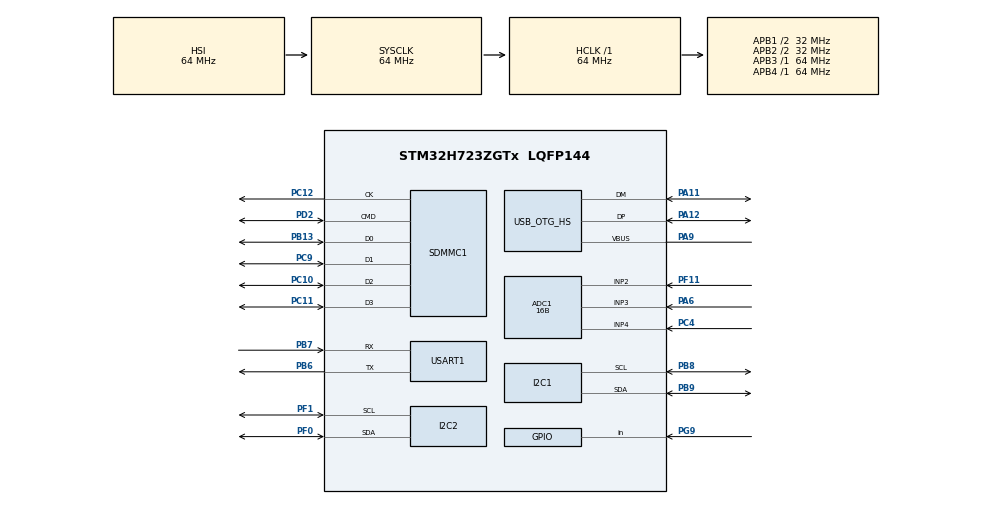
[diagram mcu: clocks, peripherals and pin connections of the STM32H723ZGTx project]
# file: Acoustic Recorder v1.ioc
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ADC1.Channel-2\#ChannelRegularConversion=ADC_CHANNEL_2
ADC1.ClockPrescaler=ADC_CLOCK_SYNC_PCLK_DIV4
ADC1.ContinuousConvMode=ENABLE
ADC1.ConversionDataManagement=ADC_CONVERSIONDATA_DMA_CIRCULAR
ADC1.DiscontinuousConvMode=DISABLE
ADC1.EOCSelection=ADC_EOC_SEQ_CONV
ADC1.ExternalTrigConv=ADC_SOFTWARE_START
ADC1.NbrOfConversion=1
ADC1.NbrOfConversionFlag=1
ADC1.OffsetNumber-2\#ChannelRegularConversion=ADC_OFFSET_NONE
ADC1.OffsetSignedSaturation-2\#ChannelRegularConversion=DISABLE
ADC1.Overrun=ADC_OVR_DATA_PRESERVED
ADC1.Rank-2\#ChannelRegularConversion=1
ADC1.Resolution=ADC_RESOLUTION_16B
ADC1.SamplingTime-2\#ChannelRegularConversion=ADC_SAMPLETIME_32CYCLES_5
ADC1.master=1
Dma.ADC1.0.Direction=DMA_PERIPH_TO_MEMORY
Dma.ADC1.0.EventEnable=DISABLE
Dma.ADC1.0.FIFOMode=DMA_FIFOMODE_DISABLE
Dma.ADC1.0.Instance=DMA1_Stream0
Dma.ADC1.0.MemDataAlignment=DMA_MDATAALIGN_HALFWORD
Dma.ADC1.0.MemInc=DMA_MINC_ENABLE
Dma.ADC1.0.Mode=DMA_CIRCULAR
Dma.ADC1.0.PeriphDataAlignment=DMA_PDATAALIGN_HALFWORD
Dma.ADC1.0.PeriphInc=DMA_PINC_DISABLE
Dma.ADC1.0.Polarity=HAL_DMAMUX_REQ_GEN_RISING
Dma.ADC1.0.Priority=DMA_PRIORITY_LOW
Dma.ADC1.0.RequestNumber=1
Dma.ADC1.0.SignalID=NONE
Dma.ADC1.0.SyncEnable=DISABLE
Dma.ADC1.0.SyncPolarity=HAL_DMAMUX_SYNC_NO_EVENT
Dma.ADC1.0.SyncRequestNumber=1
Dma.ADC1.0.SyncSignalID=NONE
Dma.Request0=ADC1
FATFS.BSP.number=1
FATFS.USE_DMA_CODE_SD=1
FATFS._USE_LFN=3
FATFS0.BSP.STBoard=false
FATFS0.BSP.api=Unknown
FATFS0.BSP.instance=PG9
FATFS0.BSP.ip=GPIO
FATFS0.BSP.mode=Input
FATFS0.BSP.name=Detect_SDIO
FATFS0.BSP.solution=PG9
I2C1.Timing=0x00707CBB
I2C2.Timing=0x00707CBB
Mcu.Family=STM32H7
Mcu.Name=STM32H723ZGTx
Mcu.Package=LQFP144
NVIC.ADC_IRQn=true\:0\:0\:false\:false\:true\:true\:true\:true
NVIC.DMA1_Stream0_IRQn=true\:0\:0\:false\:false\:true\:false\:true\:true
NVIC.PriorityGroup=NVIC_PRIORITYGROUP_4
NVIC.SDMMC1_IRQn=true\:0\:0\:false\:false\:true\:true\:true\:true
PA11.Mode=Device_Only_FS
PA11.Signal=USB_OTG_HS_DM
PA12.Mode=Device_Only_FS
PA12.Signal=USB_OTG_HS_DP
PA13(JTMS/SWDIO).Mode=Trace_Asynchronous_SW
PA13(JTMS/SWDIO).Signal=DEBUG_JTMS-SWDIO
PA14(JTCK/SWCLK).Mode=Trace_Asynchronous_SW
PA14(JTCK/SWCLK).Signal=DEBUG_JTCK-SWCLK
PA6.Signal=ADCx_INP3
PA9.Mode=Activate_VBUS_FS
PA9.Signal=USB_OTG_HS_VBUS
PB13.Mode=SD_4_bits_Wide_bus
PB13.Signal=SDMMC1_D0
PB3(JTDO/TRACESWO).Mode=Trace_Asynchronous_SW
PB3(JTDO/TRACESWO).Signal=DEBUG_JTDO-SWO
PB6.Mode=Asynchronous
PB6.Signal=USART1_TX
PB7.Mode=Asynchronous
PB7.Signal=USART1_RX
PB8.Mode=I2C
PB8.Signal=I2C1_SCL
PB9.Mode=I2C
PB9.Signal=I2C1_SDA
PC10.Mode=SD_4_bits_Wide_bus
PC10.Signal=SDMMC1_D2
PC11.Mode=SD_4_bits_Wide_bus
PC11.Signal=SDMMC1_D3
PC12.Mode=SD_4_bits_Wide_bus
PC12.Signal=SDMMC1_CK
PC4.Signal=ADCx_INP4
PC9.Mode=SD_4_bits_Wide_bus
PC9.Signal=SDMMC1_D1
PD2.Mode=SD_4_bits_Wide_bus
PD2.Signal=SDMMC1_CMD
PF0.Mode=I2C
PF0.Signal=I2C2_SDA
PF1.Mode=I2C
PF1.Signal=I2C2_SCL
PF11.Mode=IN2-Single-Ended
PF11.Signal=ADC1_INP2
PG9.Signal=GPIO_Input
ProjectManager.HeapSize=0x2000
ProjectManager.StackSize=0x4000
ProjectManager.TargetToolchain=STM32CubeIDE
RCC.ADCFreq_Value=96000000
RCC.APB1Freq_Value=32000000
RCC.APB2Freq_Value=32000000
RCC.APB3Freq_Value=64000000
RCC.APB4Freq_Value=64000000
RCC.CortexFreq_Value=64000000
RCC.D2PPRE1=RCC_APB1_DIV2
RCC.D2PPRE2=RCC_APB2_DIV2
RCC.DIVM1=4
RCC.DIVM2=1
RCC.DIVN1=12
RCC.DIVN2=24
RCC.DIVP1=1
RCC.DIVP2=16
RCC.HCLKFreq_Value=64000000
RCC.HSE_VALUE=16000000
RCC.PLL2FRACN=0
RCC.PLL3FRACN=0
RCC.PLLFRACN=4096
RCC.SYSCLKFreq_VALUE=64000000
RCC.USBCLockSelection=RCC_USBCLKSOURCE_HSI48
RCC.USBFreq_Value=48000000
SDMMC1.ClockDiv=1
SDMMC1.TransceiverPresent=SDMMC_TRANSCEIVER_NOT_PRESENT
SH.ADCx_INP3.0=ADC1_INP3,IN3-Single-Ended
SH.ADCx_INP4.0=ADC1_INP4,IN4-Single-Ended
USART1.VirtualMode-Asynchronous=VM_ASYNC
USART1.WordLength=WORDLENGTH_7B
USB_OTG_HS.VirtualMode-Device_Only_FS=Device_Only_FS
VP_FATFS_VS_SDIO.Mode=SDIO
VP_RCC_USB.Mode=USB_HS
VP_RTC_VS_RTC_Activate.Mode=RTC_Enabled
VP_RTC_VS_RTC_Calendar.Mode=RTC_Calendar
VP_RTC_VS_RTC_WakeUp_intern.Mode=WakeUp
board=custom

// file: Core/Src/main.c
/* USER CODE BEGIN Header */
/**
  ******************************************************************************
  * @file           : main.c
  * @brief          : Main program body
  ******************************************************************************
  * @attention
  *
  * Copyright (c) 2024 STMicroelectronics.
  * All rights reserved.
  *
  * This software is licensed under terms that can be found in the LICENSE file
  * in the root directory of this software component.
  * If no LICENSE file comes with this software, it is provided AS-IS.
  *
  ******************************************************************************
  */
/* USER CODE END Header */
#include "main.h"
#include "fatfs.h"

/* USER CODE BEGIN Includes */
#include <stdio.h>
#include <string.h>
#include <stdlib.h>
#include <stdint.h>
#include <math.h>
#include <limits.h>
#include <time.h>
#include <arm_math.h>

/* USER CODE END Includes */

/* USER CODE BEGIN PTD */
//struct for .WAV header
typedef struct {
    char    ChunkID[4];
    int32_t ChunkSize;
    char    Format[4];

    char    Subchunk1ID[4];
    int32_t Subchunk1Size;
    int16_t AudioFormat;
    int16_t NumChannels;
    int32_t SampleRate;
    int32_t ByteRate;
    int16_t BlockAlign;
    int16_t BitsPerSample;

    char    Subchunk2ID[4];
    int32_t Subchunk2Size;
} header;

//state machine states
typedef enum {
    PRE_ANALYSIS_RECORDING,
    MAIN_RECORDING,
    IDLE
} application_state_t;
/* USER CODE END PTD */

/* USER CODE BEGIN PD */

//.WAV file defines, currently 16-bit/192kHz
#define Sub_chunk1Size 16
#define Audio_Format 1
#define Num_Channels 1
#define Sample_Rate 192000 //32.5cycles
#define Bitsper_Sample 16
#define duration 5
#define CHUNK_SIZE_SECONDS 0.20 //must be able to divide duration
#define CHUNK_SIZE_SAMPLES (CHUNK_SIZE_SECONDS * Sample_Rate)

//used for sine wave generation to test .WAV setup.
#define amplitude 0.5
#define frequency 415.30

#define PRE_ANALYSIS_BUF_LEN 8192 //4096  //closest power of 2 to 0.1 seconds of data at 192kHz
#define FFT_SIZE PRE_ANALYSIS_BUF_LEN

//adjust below parameters to alter pre analysis parameters
#define FREQUENCY_THRESHOLD 18000 //should add 4,449.4 to wanted value to account for error.
#define AMPLITUDE_THRESHOLD 0 //ambient room noise ranges from 0-10.
//26449.40 - 22000 = 4,449.4 error

#define ADC_BUF_LEN 32768
#define ADC_BUF_LEN_HALF ADC_BUF_LEN/2

/* USER CODE END PD */

ADC_HandleTypeDef hadc1;
DMA_HandleTypeDef hdma_adc1;

I2C_HandleTypeDef hi2c1;
I2C_HandleTypeDef hi2c2;

RTC_HandleTypeDef hrtc;

SD_HandleTypeDef hsd1;

UART_HandleTypeDef huart1;

PCD_HandleTypeDef hpcd_USB_OTG_HS;

/* USER CODE BEGIN PV */
header header_actual; //declare .WAV header globally

uint16_t adc_buf[ADC_BUF_LEN];
uint16_t adc_half_buf[ADC_BUF_LEN_HALF];
uint16_t adc_full_buf[ADC_BUF_LEN_HALF];

volatile uint8_t dma_half_transfer_complete = 0;
volatile uint8_t dma_transfer_complete = 0;

uint16_t pre_analysis_buf[PRE_ANALYSIS_BUF_LEN];
volatile uint8_t pre_analysis_complete = 0; //flag to indicate completion of pre-analysis recording
volatile application_state_t app_state = PRE_ANALYSIS_RECORDING;
q15_t  fft_input[FFT_SIZE]; //buffer for FFT input
q15_t  fft_output[2 * FFT_SIZE]; //should be (x*2)+1

uint32_t totalDataBytesWritten = 0;
UINT bw; //bytes written

RTC_TimeTypeDef gTime;
RTC_DateTypeDef gDate;

FIL AudioFile;
FIL TextFile;
/* USER CODE END PV */

void SystemClock_Config(void);
static void MX_GPIO_Init(void);
static void MX_DMA_Init(void);
static void MX_ADC1_Init(void);
static void MX_SDMMC1_SD_Init(void);
static void MX_I2C1_Init(void);
static void MX_I2C2_Init(void);
static void MX_RTC_Init(void);
static void MX_USART1_UART_Init(void);
static void MX_USB_OTG_HS_PCD_Init(void);
/* USER CODE BEGIN PFP */
void sd_setup(void);
void sd_write(short *data, int num_samples);
void initializeHeader(header *header_actual);
void generateSineWave(short *data, int num_samples);
void writeToFile(const char *filename, header header_actual, short *data);
void finalizeRecording();
void Get_RTC_Time(void);
void SetRTCToCompileTime(RTC_HandleTypeDef *hrtc);
void sd_audio_file();
void sd_data_file();
int detectSignificantFrequency(float32_t *fftMagnitude, uint32_t fftSize, float sampleRate);
void performFFT();
q15_t unsigned_to_q15(uint16_t val);
/* USER CODE END PFP */

/* USER CODE BEGIN 0 */
FRESULT res;
uint32_t byteswritten, bytesread;
uint8_t wtext[] = "This is a test for my 3rd Year Project!"; /* File write buffer */
uint8_t rtext[_MAX_SS];/* File read buffer */

arm_rfft_instance_q15 S;

/* USER CODE END 0 */

int main(void)
{

  /* MCU Configuration--------------------------------------------------------*/

  /* Reset of all peripherals, Initializes the Flash interface and the Systick. */
  HAL_Init();

  /* Configure the system clock */
  SystemClock_Config();

  /* Initialize all configured peripherals */
  MX_GPIO_Init();
  MX_DMA_Init();
  MX_ADC1_Init();
  MX_SDMMC1_SD_Init();
  MX_I2C1_Init();
  MX_I2C2_Init();
  MX_RTC_Init();
  MX_USART1_UART_Init();
  MX_USB_OTG_HS_PCD_Init();
  MX_FATFS_Init();
  /* USER CODE BEGIN 2 */
  //sets rtc to complie time, easier than changing code each build
  SetRTCToCompileTime(&hrtc);
  //used for debugging check time is correct.
  Get_RTC_Time();
  sd_setup();
  sd_audio_file();
  sd_data_file();

  HAL_ADC_Start_DMA(&hadc1, (uint32_t*)pre_analysis_buf, PRE_ANALYSIS_BUF_LEN);

  /* USER CODE END 2 */

  /* Infinite loop */
  while (1)
  {

    /* USER CODE BEGIN 3 */
	  if (app_state == PRE_ANALYSIS_RECORDING) {
	        if (pre_analysis_complete) {

	        	//calculating DC offset from audio
	        	float dc_offset = 0;
	        	for (int i = 0; i < PRE_ANALYSIS_BUF_LEN; i++) {
	        	    dc_offset += pre_analysis_buf[i];
	        	}
	        	dc_offset /= PRE_ANALYSIS_BUF_LEN;

	            //converts the ADC values to q15 and store them in fft_input for use in q15 fft.
	            for (int i = 0; i < PRE_ANALYSIS_BUF_LEN; i++) {
	                fft_input[i] = unsigned_to_q15(pre_analysis_buf[i]- dc_offset); //removing  DC offset from audio
	            }

	            //perform FFT on the pre-analysis data
	            performFFT();

	            //analyze the FFT output to detect significant frequencies as defined in #DEFINE
	            if (detectSignificantFrequency(fft_output, FFT_SIZE, Sample_Rate)) {
	                app_state = MAIN_RECORDING; //starts the main recording if significant frequency detected
		            pre_analysis_complete = 0;

	            } else {
	                //app_state = IDLE; //IDLE state here if needed, current code should loop
	                app_state = PRE_ANALYSIS_RECORDING;

	            }

	        }
	    } else if (app_state == MAIN_RECORDING) {

	    	//stop pre analysis ADC DMA setup and restarts for main recording. Output buffer is different
	    	HAL_ADC_Stop_DMA(&hadc1);
	    	HAL_ADC_Start_DMA(&hadc1, (uint32_t*)adc_buf, ADC_BUF_LEN);

	    		header header_actual;
	    		initializeHeader(&header_actual);
	        	      //calculating DC offset from audio - i should turn this into a function
	    			  float remaining_duration = duration;
	    		      float dc_offset = 0;

	    		      for (int i = 0; i < ADC_BUF_LEN; i++) {
	    		                 dc_offset += adc_buf[i];
	    		             }
	    		             dc_offset /= ADC_BUF_LEN;
	    		      //main recording loop, writes data to SD card in segments and checks whether duration has elapsed.
	    			  while (remaining_duration > 0) {
	    				  //allocate memory for the chunk
	    				  int chunk_samples = remaining_duration >= CHUNK_SIZE_SECONDS ? CHUNK_SIZE_SAMPLES : (int)(remaining_duration * Sample_Rate);
	    				  short *data = malloc(chunk_samples * Num_Channels * sizeof(short)); //malloc use I dont think does anything here

	    				  while (!dma_half_transfer_complete) {

	    				     }

	    				  dma_half_transfer_complete = 0;

	    		            for (int i = 0; i < ADC_BUF_LEN_HALF; i++) {
	    		                adc_half_buf[i] = (short)((adc_buf[i] - dc_offset) * 40);//removing  DC offset from audio
	    		            }
	    				  //write first DMA segment chunk to SD card
	    				  sd_write((short*)adc_half_buf, ADC_BUF_LEN_HALF);

	    				  while (!dma_transfer_complete) {

	    				     }

	    				  dma_transfer_complete = 0;
	    		            for (int i = 0; i < ADC_BUF_LEN_HALF; i++) {
	    		                adc_full_buf[i] = (short)((adc_buf[i + ADC_BUF_LEN_HALF] - dc_offset) * 40);  // Example scaling and offset adjust
	    		            }

		    			  //write second DMA segment chunk to SD card
	    				  sd_write((short*)adc_full_buf, ADC_BUF_LEN_HALF);

	    				  //update remaining duration
	    				  remaining_duration -= CHUNK_SIZE_SECONDS;

	    				  //free memory allocated for the chunk
	    				  free(data);
	    			          }
	    			  //closes files onn SD cards.
	    			  finalizeRecording();

	    			  printf("Write operation complete\r\n");

	    			  app_state = PRE_ANALYSIS_RECORDING;
			          pre_analysis_complete = 0; // Reset flag
				      HAL_ADC_Stop_DMA(&hadc1);
			          HAL_ADC_Start_DMA(&hadc1, (uint32_t*)pre_analysis_buf, PRE_ANALYSIS_BUF_LEN);

	    } else if (app_state == IDLE) {
	    }

  }
  /* USER CODE END 3 */
}

void SystemClock_Config(void)
{
  RCC_OscInitTypeDef RCC_OscInitStruct = {0};
  RCC_ClkInitTypeDef RCC_ClkInitStruct = {0};
  RCC_CRSInitTypeDef RCC_CRSInitStruct = {0};

  /** Supply configuration update enable
  */
  HAL_PWREx_ConfigSupply(PWR_LDO_SUPPLY);

  /** Configure the main internal regulator output voltage
  */
  __HAL_PWR_VOLTAGESCALING_CONFIG(PWR_REGULATOR_VOLTAGE_SCALE3);

  while(!__HAL_PWR_GET_FLAG(PWR_FLAG_VOSRDY)) {}

  /** Initializes the RCC Oscillators according to the specified parameters
  * in the RCC_OscInitTypeDef structure.
  */
  RCC_OscInitStruct.OscillatorType = RCC_OSCILLATORTYPE_HSI48|RCC_OSCILLATORTYPE_HSI
                              |RCC_OSCILLATORTYPE_LSI;
  RCC_OscInitStruct.HSIState = RCC_HSI_DIV1;
  RCC_OscInitStruct.HSICalibrationValue = 64;
  RCC_OscInitStruct.LSIState = RCC_LSI_ON;
  RCC_OscInitStruct.HSI48State = RCC_HSI48_ON;
  RCC_OscInitStruct.PLL.PLLState = RCC_PLL_ON;
  RCC_OscInitStruct.PLL.PLLSource = RCC_PLLSOURCE_HSI;
  RCC_OscInitStruct.PLL.PLLM = 4;
  RCC_OscInitStruct.PLL.PLLN = 12;
  RCC_OscInitStruct.PLL.PLLP = 1;
  RCC_OscInitStruct.PLL.PLLQ = 2;
  RCC_OscInitStruct.PLL.PLLR = 2;
  RCC_OscInitStruct.PLL.PLLRGE = RCC_PLL1VCIRANGE_3;
  RCC_OscInitStruct.PLL.PLLVCOSEL = RCC_PLL1VCOWIDE;
  RCC_OscInitStruct.PLL.PLLFRACN = 4096;
  if (HAL_RCC_OscConfig(&RCC_OscInitStruct) != HAL_OK)
  {
    Error_Handler();
  }

  /** Initializes the CPU, AHB and APB buses clocks
  */
  RCC_ClkInitStruct.ClockType = RCC_CLOCKTYPE_HCLK|RCC_CLOCKTYPE_SYSCLK
                              |RCC_CLOCKTYPE_PCLK1|RCC_CLOCKTYPE_PCLK2
                              |RCC_CLOCKTYPE_D3PCLK1|RCC_CLOCKTYPE_D1PCLK1;
  RCC_ClkInitStruct.SYSCLKSource = RCC_SYSCLKSOURCE_HSI;
  RCC_ClkInitStruct.SYSCLKDivider = RCC_SYSCLK_DIV1;
  RCC_ClkInitStruct.AHBCLKDivider = RCC_HCLK_DIV1;
  RCC_ClkInitStruct.APB3CLKDivider = RCC_APB3_DIV1;
  RCC_ClkInitStruct.APB1CLKDivider = RCC_APB1_DIV2;
  RCC_ClkInitStruct.APB2CLKDivider = RCC_APB2_DIV2;
  RCC_ClkInitStruct.APB4CLKDivider = RCC_APB4_DIV1;

  if (HAL_RCC_ClockConfig(&RCC_ClkInitStruct, FLASH_LATENCY_1) != HAL_OK)
  {
    Error_Handler();
  }

  /** Enable the SYSCFG APB clock
  */
  __HAL_RCC_CRS_CLK_ENABLE();

  /** Configures CRS
  */
  RCC_CRSInitStruct.Prescaler = RCC_CRS_SYNC_DIV1;
  RCC_CRSInitStruct.Source = RCC_CRS_SYNC_SOURCE_USB2;
  RCC_CRSInitStruct.Polarity = RCC_CRS_SYNC_POLARITY_RISING;
  RCC_CRSInitStruct.ReloadValue = __HAL_RCC_CRS_RELOADVALUE_CALCULATE(48000000,1000);
  RCC_CRSInitStruct.ErrorLimitValue = 34;
  RCC_CRSInitStruct.HSI48CalibrationValue = 32;

  HAL_RCCEx_CRSConfig(&RCC_CRSInitStruct);
}

static void MX_ADC1_Init(void)
{

  ADC_MultiModeTypeDef multimode = {0};
  ADC_ChannelConfTypeDef sConfig = {0};

  /** Common config
  */
  hadc1.Instance = ADC1;
  hadc1.Init.ClockPrescaler = ADC_CLOCK_SYNC_PCLK_DIV4;
  hadc1.Init.Resolution = ADC_RESOLUTION_16B;
  hadc1.Init.ScanConvMode = ADC_SCAN_DISABLE;
  hadc1.Init.EOCSelection = ADC_EOC_SEQ_CONV;
  hadc1.Init.LowPowerAutoWait = DISABLE;
  hadc1.Init.ContinuousConvMode = ENABLE;
  hadc1.Init.NbrOfConversion = 1;
  hadc1.Init.DiscontinuousConvMode = DISABLE;
  hadc1.Init.ExternalTrigConv = ADC_SOFTWARE_START;
  hadc1.Init.ExternalTrigConvEdge = ADC_EXTERNALTRIGCONVEDGE_NONE;
  hadc1.Init.ConversionDataManagement = ADC_CONVERSIONDATA_DMA_CIRCULAR;
  hadc1.Init.Overrun = ADC_OVR_DATA_PRESERVED;
  hadc1.Init.LeftBitShift = ADC_LEFTBITSHIFT_NONE;
  hadc1.Init.OversamplingMode = DISABLE;
  if (HAL_ADC_Init(&hadc1) != HAL_OK)
  {
    Error_Handler();
  }

  /** Configure the ADC multi-mode
  */
  multimode.Mode = ADC_MODE_INDEPENDENT;
  if (HAL_ADCEx_MultiModeConfigChannel(&hadc1, &multimode) != HAL_OK)
  {
    Error_Handler();
  }

  /** Configure Regular Channel
  */
  sConfig.Channel = ADC_CHANNEL_2;
  sConfig.Rank = ADC_REGULAR_RANK_1;
  sConfig.SamplingTime = ADC_SAMPLETIME_32CYCLES_5;
  sConfig.SingleDiff = ADC_SINGLE_ENDED;
  sConfig.OffsetNumber = ADC_OFFSET_NONE;
  sConfig.Offset = 0;
  sConfig.OffsetSignedSaturation = DISABLE;
  if (HAL_ADC_ConfigChannel(&hadc1, &sConfig) != HAL_OK)
  {
    Error_Handler();
  }

}

static void MX_I2C1_Init(void)
{

  hi2c1.Instance = I2C1;
  hi2c1.Init.Timing = 0x00707CBB;
  hi2c1.Init.OwnAddress1 = 0;
  hi2c1.Init.AddressingMode = I2C_ADDRESSINGMODE_7BIT;
  hi2c1.Init.DualAddressMode = I2C_DUALADDRESS_DISABLE;
  hi2c1.Init.OwnAddress2 = 0;
  hi2c1.Init.OwnAddress2Masks = I2C_OA2_NOMASK;
  hi2c1.Init.GeneralCallMode = I2C_GENERALCALL_DISABLE;
  hi2c1.Init.NoStretchMode = I2C_NOSTRETCH_DISABLE;
  if (HAL_I2C_Init(&hi2c1) != HAL_OK)
  {
    Error_Handler();
  }

  /** Configure Analogue filter
  */
  if (HAL_I2CEx_ConfigAnalogFilter(&hi2c1, I2C_ANALOGFILTER_ENABLE) != HAL_OK)
  {
    Error_Handler();
  }

  /** Configure Digital filter
  */
  if (HAL_I2CEx_ConfigDigitalFilter(&hi2c1, 0) != HAL_OK)
  {
    Error_Handler();
  }

}

static void MX_I2C2_Init(void)
{

  hi2c2.Instance = I2C2;
  hi2c2.Init.Timing = 0x00707CBB;
  hi2c2.Init.OwnAddress1 = 0;
  hi2c2.Init.AddressingMode = I2C_ADDRESSINGMODE_7BIT;
  hi2c2.Init.DualAddressMode = I2C_DUALADDRESS_DISABLE;
  hi2c2.Init.OwnAddress2 = 0;
  hi2c2.Init.OwnAddress2Masks = I2C_OA2_NOMASK;
  hi2c2.Init.GeneralCallMode = I2C_GENERALCALL_DISABLE;
  hi2c2.Init.NoStretchMode = I2C_NOSTRETCH_DISABLE;
  if (HAL_I2C_Init(&hi2c2) != HAL_OK)
  {
    Error_Handler();
  }

  /** Configure Analogue filter
  */
  if (HAL_I2CEx_ConfigAnalogFilter(&hi2c2, I2C_ANALOGFILTER_ENABLE) != HAL_OK)
  {
    Error_Handler();
  }

  /** Configure Digital filter
  */
  if (HAL_I2CEx_ConfigDigitalFilter(&hi2c2, 0) != HAL_OK)
  {
    Error_Handler();
  }

}

static void MX_RTC_Init(void)
{

  RTC_TimeTypeDef sTime = {0};
  RTC_DateTypeDef sDate = {0};

  /** Initialize RTC Only
  */
  hrtc.Instance = RTC;
  hrtc.Init.HourFormat = RTC_HOURFORMAT_24;
  hrtc.Init.AsynchPrediv = 127;
  hrtc.Init.SynchPrediv = 255;
  hrtc.Init.OutPut = RTC_OUTPUT_DISABLE;
  hrtc.Init.OutPutPolarity = RTC_OUTPUT_POLARITY_HIGH;
  hrtc.Init.OutPutType = RTC_OUTPUT_TYPE_OPENDRAIN;
  hrtc.Init.OutPutRemap = RTC_OUTPUT_REMAP_NONE;
  if (HAL_RTC_Init(&hrtc) != HAL_OK)
  {
    Error_Handler();
  }

  /** Initialize RTC and set the Time and Date
  */
  sTime.Hours = 0x0;
  sTime.Minutes = 0x0;
  sTime.Seconds = 0x0;
  sTime.DayLightSaving = RTC_DAYLIGHTSAVING_NONE;
  sTime.StoreOperation = RTC_STOREOPERATION_RESET;
  if (HAL_RTC_SetTime(&hrtc, &sTime, RTC_FORMAT_BCD) != HAL_OK)
  {
    Error_Handler();
  }
  sDate.WeekDay = RTC_WEEKDAY_MONDAY;
  sDate.Month = RTC_MONTH_JANUARY;
  sDate.Date = 0x1;
  sDate.Year = 0x0;

  if (HAL_RTC_SetDate(&hrtc, &sDate, RTC_FORMAT_BCD) != HAL_OK)
  {
    Error_Handler();
  }

  /** Enable the WakeUp
  */
  if (HAL_RTCEx_SetWakeUpTimer(&hrtc, 0, RTC_WAKEUPCLOCK_RTCCLK_DIV16) != HAL_OK)
  {
    Error_Handler();
  }

}

static void MX_SDMMC1_SD_Init(void)
{

  hsd1.Instance = SDMMC1;
  hsd1.Init.ClockEdge = SDMMC_CLOCK_EDGE_RISING;
  hsd1.Init.ClockPowerSave = SDMMC_CLOCK_POWER_SAVE_DISABLE;
  hsd1.Init.BusWide = SDMMC_BUS_WIDE_4B;
  hsd1.Init.HardwareFlowControl = SDMMC_HARDWARE_FLOW_CONTROL_DISABLE;
  hsd1.Init.ClockDiv = 1;

}

static void MX_USART1_UART_Init(void)
{

  huart1.Instance = USART1;
  huart1.Init.BaudRate = 115200;
  huart1.Init.WordLength = UART_WORDLENGTH_7B;
  huart1.Init.StopBits = UART_STOPBITS_1;
  huart1.Init.Parity = UART_PARITY_NONE;
  huart1.Init.Mode = UART_MODE_TX_RX;
  huart1.Init.HwFlowCtl = UART_HWCONTROL_NONE;
  huart1.Init.OverSampling = UART_OVERSAMPLING_16;
  huart1.Init.OneBitSampling = UART_ONE_BIT_SAMPLE_DISABLE;
  huart1.Init.ClockPrescaler = UART_PRESCALER_DIV1;
  huart1.AdvancedInit.AdvFeatureInit = UART_ADVFEATURE_NO_INIT;
  if (HAL_UART_Init(&huart1) != HAL_OK)
  {
    Error_Handler();
  }
  if (HAL_UARTEx_SetTxFifoThreshold(&huart1, UART_TXFIFO_THRESHOLD_1_8) != HAL_OK)
  {
    Error_Handler();
  }
  if (HAL_UARTEx_SetRxFifoThreshold(&huart1, UART_RXFIFO_THRESHOLD_1_8) != HAL_OK)
  {
    Error_Handler();
  }
  if (HAL_UARTEx_DisableFifoMode(&huart1) != HAL_OK)
  {
    Error_Handler();
  }

}

static void MX_USB_OTG_HS_PCD_Init(void)
{

  hpcd_USB_OTG_HS.Instance = USB_OTG_HS;
  hpcd_USB_OTG_HS.Init.dev_endpoints = 9;
  hpcd_USB_OTG_HS.Init.speed = PCD_SPEED_FULL;
  hpcd_USB_OTG_HS.Init.dma_enable = DISABLE;
  hpcd_USB_OTG_HS.Init.phy_itface = USB_OTG_EMBEDDED_PHY;
  hpcd_USB_OTG_HS.Init.Sof_enable = DISABLE;
  hpcd_USB_OTG_HS.Init.low_power_enable = DISABLE;
  hpcd_USB_OTG_HS.Init.lpm_enable = DISABLE;
  hpcd_USB_OTG_HS.Init.vbus_sensing_enable = ENABLE;
  hpcd_USB_OTG_HS.Init.use_dedicated_ep1 = DISABLE;
  hpcd_USB_OTG_HS.Init.use_external_vbus = DISABLE;
  if (HAL_PCD_Init(&hpcd_USB_OTG_HS) != HAL_OK)
  {
    Error_Handler();
  }

}

static void MX_DMA_Init(void)
{

  /* DMA controller clock enable */
  __HAL_RCC_DMA1_CLK_ENABLE();

  /* DMA interrupt init */
  /* DMA1_Stream0_IRQn interrupt configuration */
  HAL_NVIC_SetPriority(DMA1_Stream0_IRQn, 0, 0);
  HAL_NVIC_EnableIRQ(DMA1_Stream0_IRQn);

}

static void MX_GPIO_Init(void)
{
  GPIO_InitTypeDef GPIO_InitStruct = {0};

  /* GPIO Ports Clock Enable */
  __HAL_RCC_GPIOF_CLK_ENABLE();
  __HAL_RCC_GPIOA_CLK_ENABLE();
  __HAL_RCC_GPIOC_CLK_ENABLE();
  __HAL_RCC_GPIOB_CLK_ENABLE();
  __HAL_RCC_GPIOD_CLK_ENABLE();
  __HAL_RCC_GPIOG_CLK_ENABLE();

  /*Configure GPIO pin : PG9 */
  GPIO_InitStruct.Pin = GPIO_PIN_9;
  GPIO_InitStruct.Mode = GPIO_MODE_INPUT;
  GPIO_InitStruct.Pull = GPIO_NOPULL;
  HAL_GPIO_Init(GPIOG, &GPIO_InitStruct);

}

/* USER CODE BEGIN 4 */

//called when first half of buffer is filled
void HAL_ADC_ConvHalfCpltCallback(ADC_HandleTypeDef* hadc) {
	if (app_state == PRE_ANALYSIS_RECORDING) {
	        //copy the first half of the ADC data to the first half of the pre_analysis_buf
	        memcpy(pre_analysis_buf, adc_buf, (PRE_ANALYSIS_BUF_LEN / 2) * sizeof(uint16_t));
	        //don't set the pre_analysis_complete flag here as it is only half done
	} else if (app_state == MAIN_RECORDING) {
    for (int i = 0; i < 16384; i++) {
    	adc_half_buf[i] = (adc_buf[i]*40); //transferring data from DMA to a separate array
    }
	}
	dma_half_transfer_complete = 1;
}

//called when second half of buffer is filled
void HAL_ADC_ConvCpltCallback(ADC_HandleTypeDef* hadc) {
	 if (app_state == PRE_ANALYSIS_RECORDING) {
	        //copy the data to pre_analysis_buf instead of adc_full_buf
	        memcpy(pre_analysis_buf + (PRE_ANALYSIS_BUF_LEN / 2), adc_buf + (ADC_BUF_LEN / 2), (PRE_ANALYSIS_BUF_LEN / 2) * sizeof(uint16_t));
	        pre_analysis_complete = 1; //indicate that pre-analysis recording is complete
	        //printf("Pre-analysis complete.\r\n"); // Debugging statement
	} else if (app_state == MAIN_RECORDING) {
    for (int i = 0; i < 16384; i++) {
    	adc_full_buf[i] = (adc_buf[i + 16384]*40); //the *40 is used to determine gain applied with DSP. Simply increase or decrease as needed.
    }
	}
	dma_transfer_complete = 1;
}

void sd_setup()
{

	if(f_mount(&SDFatFS, (TCHAR const*)SDPath, 0) != FR_OK)
	{
	  	Error_Handler();
	}

	else if(f_mkfs((TCHAR const*)SDPath, FM_ANY, 0, rtext, sizeof(rtext)) != FR_OK)
	{
	  	Error_Handler();
	}

}

void sd_audio_file(){

    char filename[40]; //buffer to accommodate date and time //FatFS will need to allow longfilenames
    //print time and date
    snprintf(filename, sizeof(filename), "%02d-%02d-%4d_%02d-%02d-%02d.wav", gDate.Date, gDate.Month, 2000 + gDate.Year,gTime.Hours, gTime.Minutes, gTime.Seconds);

	if(f_open(&AudioFile, filename, FA_CREATE_ALWAYS | FA_WRITE) != FR_OK)
	{
		Error_Handler();
	}
    initializeHeader(&header_actual);
    //write to the .WAV file
    f_write(&AudioFile, &header_actual, sizeof(header), &byteswritten);

}

void sd_data_file(){
	const char* TextHolder = "This is where environmental data would be stored! e.g Temp,Tilt,CO2"; //if sensors are implemented add the values here.

    char filename[40];
    snprintf(filename, sizeof(filename), "%02d-%02d-%4d_%02d-%02d-%02d.txt", gDate.Date, gDate.Month, 2000 + gDate.Year,gTime.Hours, gTime.Minutes, gTime.Seconds);

	if(f_open(&TextFile, filename, FA_CREATE_ALWAYS | FA_WRITE) != FR_OK)
	{
		Error_Handler();
	}
    //write to the .txt file
	f_write(&TextFile, TextHolder, strlen(TextHolder), &bw);

}

void sd_write(short *data, int num_samples) {
    uint32_t bytesToWrite = num_samples * Num_Channels * sizeof(short);
    f_write(&AudioFile, data, bytesToWrite, &byteswritten);
    totalDataBytesWritten += byteswritten; //updates the total bytes written here
}

void sd_close()
{
	f_close(&AudioFile);
	f_close(&TextFile);
	f_mount(&SDFatFS, (TCHAR const*)NULL, 0);

}
void initializeHeader(header *header_actual) {
    header_actual->ChunkID[0] = 'R';
    header_actual->ChunkID[1] = 'I';
    header_actual->ChunkID[2] = 'F';
    header_actual->ChunkID[3] = 'F';

    header_actual->Format[0] = 'W';
    header_actual->Format[1] = 'A';
    header_actual->Format[2] = 'V';
    header_actual->Format[3] = 'E';

    header_actual->Subchunk1ID[0] = 'f';
    header_actual->Subchunk1ID[1] = 'm';
    header_actual->Subchunk1ID[2] = 't';
    header_actual->Subchunk1ID[3] = ' ';

    header_actual->Subchunk1Size = Sub_chunk1Size;
    header_actual->AudioFormat = Audio_Format;
    header_actual->NumChannels = Num_Channels;
    header_actual->SampleRate = Sample_Rate;
    header_actual->ByteRate = Sample_Rate * Num_Channels * Bitsper_Sample/8;
    header_actual->BlockAlign = Num_Channels * Bitsper_Sample/8;
    header_actual->BitsPerSample = Bitsper_Sample;

    header_actual->Subchunk2ID[0] = 'd';
    header_actual->Subchunk2ID[1] = 'a';
    header_actual->Subchunk2ID[2] = 't';
    header_actual->Subchunk2ID[3] = 'a';

    header_actual->ChunkSize = 0; //placeholder, to be updated
    header_actual->Subchunk2Size = 0; //placeholder, to be updated
}

void generateSineWave(short *data, int num_samples) {
    for (int i = 0; i < num_samples; i++) {
        float phase = 2.0 * M_PI * frequency * i / Sample_Rate;
        data[i] = amplitude * sin(phase) * 32767;
    }
}

void finalizeRecording() {
    // calculate actual sizes based on recorded data length
    header_actual.Subchunk2Size = totalDataBytesWritten; //total bytes of audio data written
    header_actual.ChunkSize = 36 + header_actual.Subchunk2Size;

    //seeks the beginning of the file to update the header
    f_lseek(&AudioFile, 0);
    f_write(&AudioFile, &header_actual, sizeof(header), &byteswritten);

    //close the file
    sd_close();
}

void Get_RTC_Time(void) {

    //get the RTC current Time
    HAL_RTC_GetTime(&hrtc, &gTime, RTC_FORMAT_BIN);
    //get the RTC current Date
    HAL_RTC_GetDate(&hrtc, &gDate, RTC_FORMAT_BIN); //this line is needed to unlock the time read

    printf("Current time is %02d:%02d:%02d\r\n", gTime.Hours, gTime.Minutes, gTime.Seconds);
    printf("Current date is %02d-%02d-%2d\r\n", gDate.Date, gDate.Month, 2000 + gDate.Year);
}

void SetRTCToCompileTime(RTC_HandleTypeDef *hrtc) {
    RTC_TimeTypeDef sTime = {0};
    RTC_DateTypeDef sDate = {0};
    struct tm compileTime;

    //parse the __DATE__ and __TIME__ macros to struct tm
    strptime(__DATE__ " " __TIME__, "%b %d %Y %H:%M:%S", &compileTime);

    //populate the RTC structures
    sTime.Hours = compileTime.tm_hour;
    sTime.Minutes = compileTime.tm_min;
    sTime.Seconds = compileTime.tm_sec;
    sDate.Year = compileTime.tm_year - 100; // tm_year is years since 1900
    sDate.Month = compileTime.tm_mon + 1; // tm_mon is months since January [0-11]
    sDate.Date = compileTime.tm_mday;
    sDate.WeekDay = compileTime.tm_wday + 1; // tm_wday is days since Sunday [0-6], RTC_WeekDay is [1-7]

    //set the RTC time and date
    if (HAL_RTC_SetTime(hrtc, &sTime, RTC_FORMAT_BIN) != HAL_OK) {
        Error_Handler();
    }
    if (HAL_RTC_SetDate(hrtc, &sDate, RTC_FORMAT_BIN) != HAL_OK) {
        Error_Handler();
    }
}

void performFFT() {
    //initialise the FFT instance
	arm_rfft_init_q15(&S, FFT_SIZE, 0, 1);

    for (int i = 0; i < FFT_SIZE; i++) {
        fft_input[i] = (float)pre_analysis_buf[i];
        //here you would apply a window here if needed
    }

    //perform the FFT
    arm_rfft_q15(&S, fft_input, fft_output);

    //compute magnitude of FFT output (complex numbers) for analysis
    //skipping every other value as they represent complex parts in the output array
    for (int i = 0; i < FFT_SIZE / 2; i++) {
        float real = fft_output[2*i];
        float imag = fft_output[2*i + 1];
        float magnitude = sqrtf(real * real + imag * imag);
        float frequency_bin = ((float)i * Sample_Rate) / FFT_SIZE;
        printf("Frequency: %.2f Hz, Intensity: %.2f\n", frequency_bin, magnitude);
        HAL_Delay(0.1);
    }
}

int detectSignificantFrequency(float32_t *fftMagnitude, uint32_t fftSize, float sampleRate) {
    uint32_t startIndex = FREQUENCY_THRESHOLD / (sampleRate / fftSize);

    for (uint32_t i = startIndex; i < fftSize / 2; i++) { //only need to check up to Nyquist frequency
        if (fftMagnitude[i] > AMPLITUDE_THRESHOLD) {
            return 1; //frequency above threshold found
        }
    }
    return 0; //no significant frequency found
}

q15_t unsigned_to_q15(uint16_t val) {
    int32_t temp = val - 32768;  //center around 0
    return (q15_t)temp;          //cast and return
}

int __io_putchar(int ch)
{
    ITM_SendChar(ch);
    return (ch);
}

/* USER CODE END 4 */

void Error_Handler(void)
{
  __disable_irq();
  while (1)
  {
  }
}
